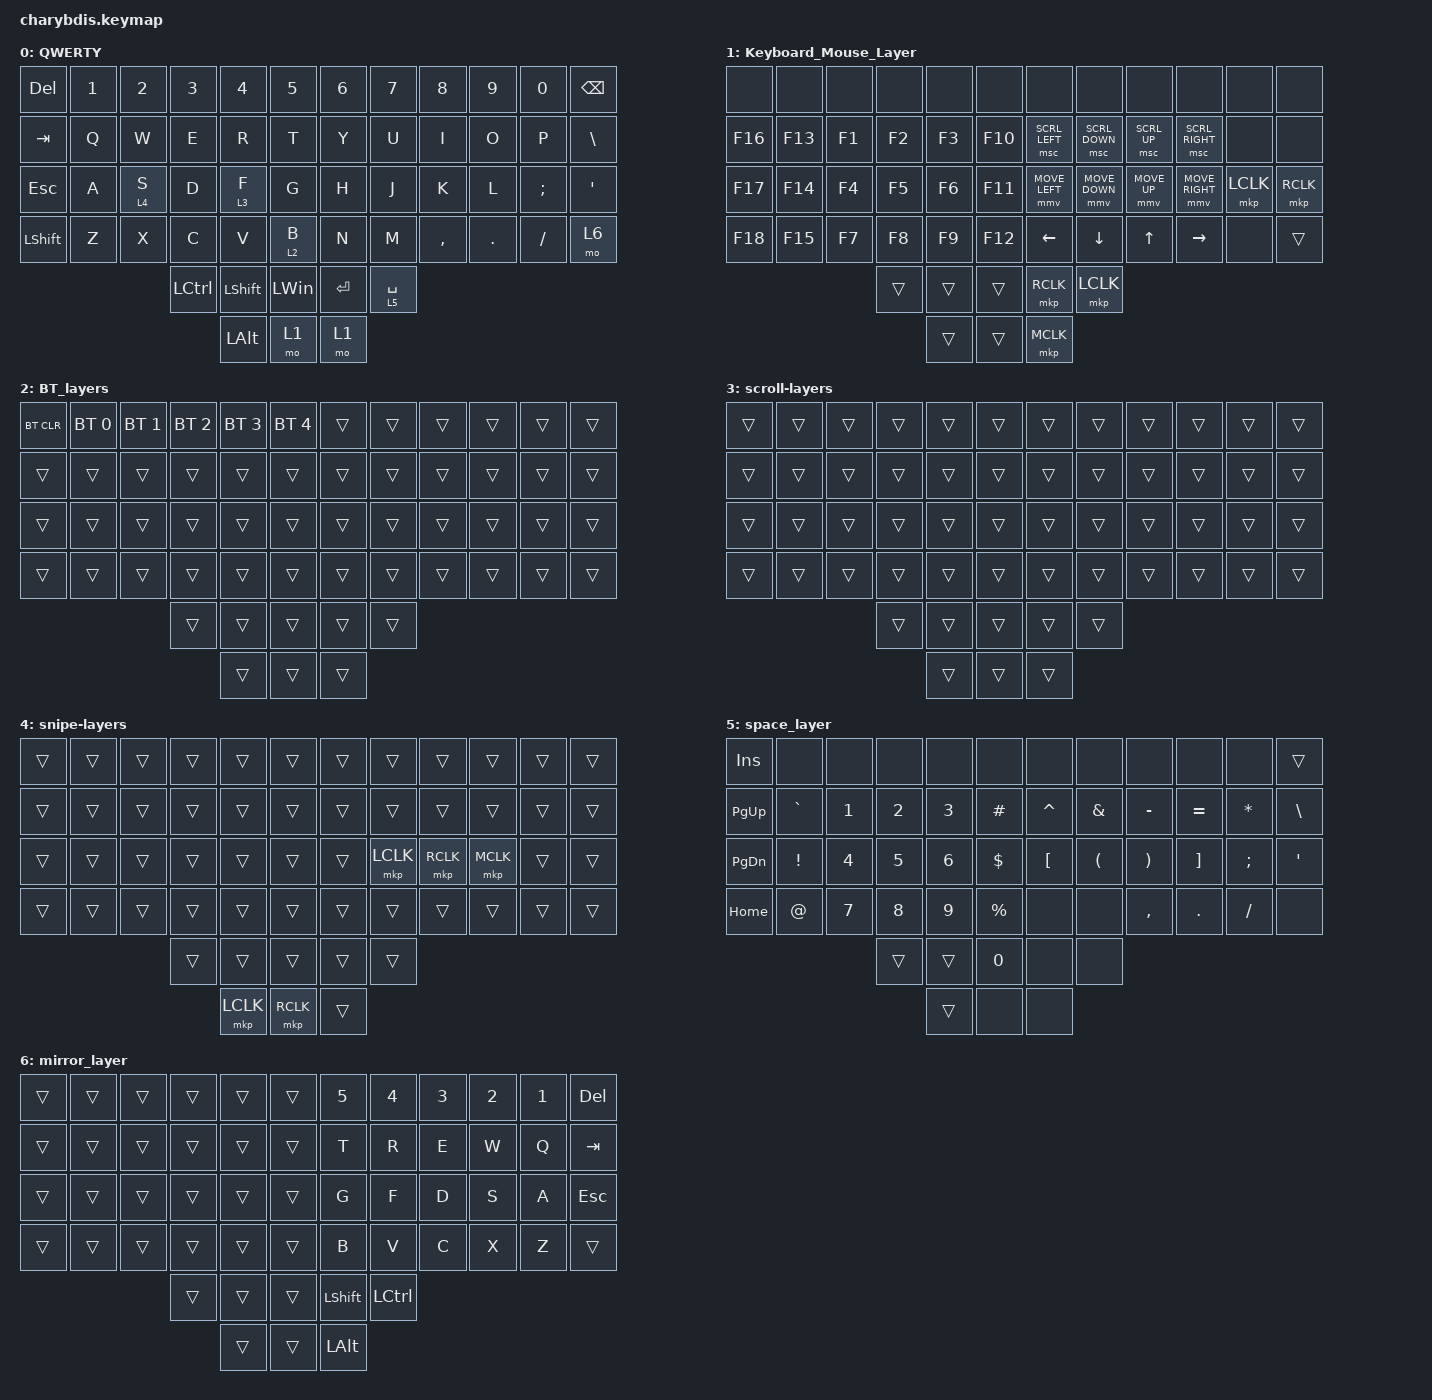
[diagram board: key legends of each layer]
#include <behaviors.dtsi>
#include <dt-bindings/zmk/bt.h>
#include <dt-bindings/zmk/keys.h>
#include <dt-bindings/zmk/pointing.h>
#include <dt-bindings/zmk/rgb.h>

// 自定义鼠标移动速度 (默认是 600)

#undef ZMK_POINTING_DEFAULT_MOVE_VAL

#define ZMK_POINTING_DEFAULT_MOVE_VAL 3000

&lt {
    flavor = "balanced";
    quick-tap-ms = <150>;
};

/ {
    behaviors {
        lt_space: layer_tap_space {
            compatible = "zmk,behavior-hold-tap";
            #binding-cells = <2>;
            tapping-term-ms = <150>;
            flavor = "balanced";
            bindings = <&mo>, <&kp>;

            retro-tap;
        };
    };

    macros {
        To1_macro: To1_macro {
            compatible = "zmk,behavior-macro";
            #binding-cells = <0>;
            bindings = <&rgb_ug RGB_EFF &rgb_ug RGB_COLOR_HSB(128,100,50) &to 1>;
        };

        To0_macro: To0_macro {
            compatible = "zmk,behavior-macro";
            #binding-cells = <0>;
            bindings = <&rgb_ug RGB_EFR &to 0>;
        };

        To2_macro: To2_macro {
            compatible = "zmk,behavior-macro";
            #binding-cells = <0>;
            bindings =
                <&to 2>,
                <&macro_wait_time 30>,
                <&rgb_ug RGB_COLOR_HSB(250,100,50)>;
        };
    };

    keymap {
        compatible = "zmk,keymap";

        QWERTY {
            bindings = <
&kp DELETE      &kp N1  &kp N2   &kp N3            &kp N4          &kp N5          &kp N6     &kp N7             &kp N8     &kp N9   &kp N0    &kp BACKSPACE
&kp TAB         &kp Q   &kp W    &kp E             &kp R           &kp T           &kp Y      &kp U              &kp I      &kp O    &kp P     &kp BSLH
&kp ESC         &kp A   &lt 4 S  &kp D             &lt 3 F         &kp G           &kp H      &kp J              &kp K      &kp L    &kp SEMI  &kp SQT
&kp LEFT_SHIFT  &kp Z   &kp X    &kp C             &kp V           &lt 2 B         &kp N      &kp M              &kp COMMA  &kp DOT  &kp FSLH  &mo 6
                                 &kp LEFT_CONTROL  &kp LEFT_SHIFT  &kp LEFT_WIN    &kp ENTER  &lt_space 5 SPACE
                                                   &kp LEFT_ALT    &mo 1           &mo 1
            >;
        };

        Keyboard_Mouse_Layer {
            bindings = <
&none    &none    &none   &none   &none   &none      &none           &none           &none         &none            &none      &none
&kp F16  &kp F13  &kp F1  &kp F2  &kp F3  &kp F10    &msc SCRL_LEFT  &msc SCRL_DOWN  &msc SCRL_UP  &msc SCRL_RIGHT  &none      &none
&kp F17  &kp F14  &kp F4  &kp F5  &kp F6  &kp F11    &mmv MOVE_LEFT  &mmv MOVE_DOWN  &mmv MOVE_UP  &mmv MOVE_RIGHT  &mkp LCLK  &mkp RCLK
&kp F18  &kp F15  &kp F7  &kp F8  &kp F9  &kp F12    &kp LEFT        &kp DOWN        &kp UP        &kp RIGHT        &none      &trans
                          &trans  &trans  &trans     &mkp RCLK       &mkp LCLK
                                  &trans  &trans     &mkp MCLK
            >;
        };

        BT_layers {
            bindings = <
&bt BT_CLR  &bt BT_SEL 0  &bt BT_SEL 1  &bt BT_SEL 2  &bt BT_SEL 3  &bt BT_SEL 4    &trans  &trans  &trans  &trans  &trans  &trans
&trans      &trans        &trans        &trans        &trans        &trans          &trans  &trans  &trans  &trans  &trans  &trans
&trans      &trans        &trans        &trans        &trans        &trans          &trans  &trans  &trans  &trans  &trans  &trans
&trans      &trans        &trans        &trans        &trans        &trans          &trans  &trans  &trans  &trans  &trans  &trans
                                        &trans        &trans        &trans          &trans  &trans
                                                      &trans        &trans          &trans
            >;
        };

        scroll-layers {
            bindings = <
&trans  &trans  &trans  &trans  &trans  &trans    &trans  &trans  &trans  &trans  &trans  &trans
&trans  &trans  &trans  &trans  &trans  &trans    &trans  &trans  &trans  &trans  &trans  &trans
&trans  &trans  &trans  &trans  &trans  &trans    &trans  &trans  &trans  &trans  &trans  &trans
&trans  &trans  &trans  &trans  &trans  &trans    &trans  &trans  &trans  &trans  &trans  &trans
                        &trans  &trans  &trans    &trans  &trans
                                &trans  &trans    &trans
            >;
        };

        snipe-layers {
            bindings = <
&trans  &trans  &trans  &trans  &trans     &trans       &trans  &trans     &trans     &trans     &trans  &trans
&trans  &trans  &trans  &trans  &trans     &trans       &trans  &trans     &trans     &trans     &trans  &trans
&trans  &trans  &trans  &trans  &trans     &trans       &trans  &mkp LCLK  &mkp RCLK  &mkp MCLK  &trans  &trans
&trans  &trans  &trans  &trans  &trans     &trans       &trans  &trans     &trans     &trans     &trans  &trans
                        &trans  &trans     &trans       &trans  &trans
                                &mkp LCLK  &mkp RCLK    &trans
            >;
        };

        space_layer {
            bindings = <
&kp INSERT     &none            &none   &none   &none   &none          &none             &none                 &none                  &none              &none          &trans
&kp PAGE_UP    &kp GRAVE        &kp N1  &kp N2  &kp N3  &kp HASH       &kp CARET         &kp AMPERSAND         &kp MINUS              &kp EQUAL          &kp ASTERISK   &kp BACKSLASH
&kp PAGE_DOWN  &kp EXCLAMATION  &kp N4  &kp N5  &kp N6  &kp DOLLAR     &kp LEFT_BRACKET  &kp LEFT_PARENTHESIS  &kp RIGHT_PARENTHESIS  &kp RIGHT_BRACKET  &kp SEMICOLON  &kp SINGLE_QUOTE
&kp HOME       &kp AT_SIGN      &kp N7  &kp N8  &kp N9  &kp PERCENT    &none             &none                 &kp COMMA              &kp PERIOD         &kp SLASH      &none
                                        &trans  &trans  &kp N0         &none             &none
                                                &trans  &none          &none
            >;
        };

        mirror_layer {
            bindings = <
&trans  &trans  &trans  &trans  &trans  &trans    &kp N5          &kp N4            &kp N3  &kp N2  &kp N1  &kp DELETE
&trans  &trans  &trans  &trans  &trans  &trans    &kp T           &kp R             &kp E   &kp W   &kp Q   &kp TAB
&trans  &trans  &trans  &trans  &trans  &trans    &kp G           &kp F             &kp D   &kp S   &kp A   &kp ESC
&trans  &trans  &trans  &trans  &trans  &trans    &kp B           &kp V             &kp C   &kp X   &kp Z   &trans
                        &trans  &trans  &trans    &kp LEFT_SHIFT  &kp LEFT_CONTROL
                                &trans  &trans    &kp LEFT_ALT
            >;
        };
    };
};
